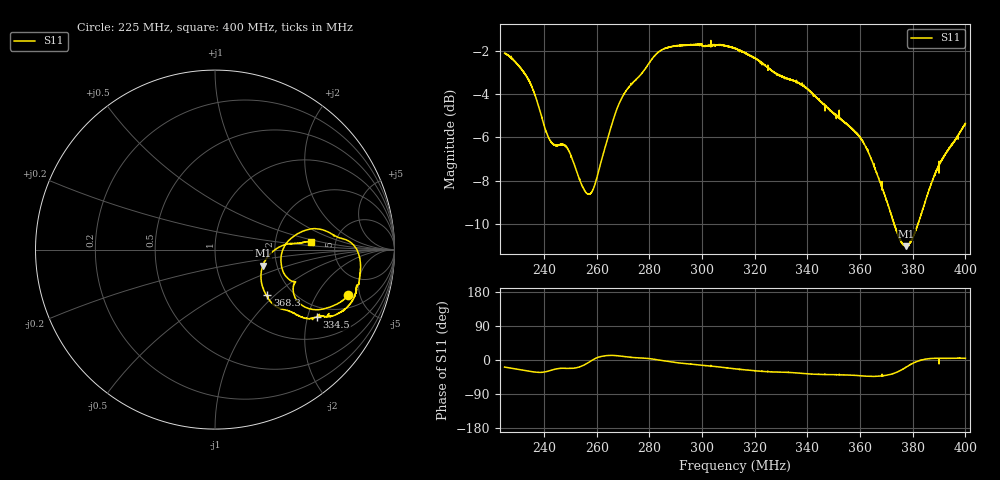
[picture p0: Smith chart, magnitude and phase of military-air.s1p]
! Calibrated averaged scanner-service zoom
# Hz S RI R 50
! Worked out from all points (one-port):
!   10001 points, 225 MHz to 400 MHz, reference 50 ohm
!   lowest |S11| = -11.0 dB at 377.6 MHz (marker M1), VSWR 1.78, Z = 84.3 - j16.4 ohm
!   |S11| at or under -10 dB: 372.9 MHz to 382 MHz (9.041 MHz wide, 2.4 % of centre)
!   S11 on the Smith chart (normalised r, x): 225 MHz: 2.97, -3.90; 334.5 MHz: 1.65, -2.29; 368.3 MHz: 1.50, -0.90; 400 MHz: 3.30, +0.40
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2.25e8  0.7437 -0.2517
2.31195e8  0.651 -0.3158
2.360775e8  0.5457 -0.3335
2.409775e8  0.443 -0.2594
2.441975e8  0.4391 -0.1973
2.46875e8  0.4475 -0.1789
2.518275e8  0.3993 -0.1533
2.574975e8  0.3706 -0.0249
2.63045e8  0.4641 0.0905
2.6875e8  0.5948 0.1114
2.793375e8  0.7348 0.0528
2.8303e8  0.7861 0.00687
2.90625e8  0.8107 -0.1021
3.0557e8  0.7802 -0.249
3.125e8  0.7398 -0.3174
3.222475e8  0.6512 -0.3713
3.34375e8  0.5675 -0.3741
3.34515e8  0.5676 -0.3741
3.42145e8  0.5028 -0.3828
3.5625e8  0.4057 -0.3394
3.625325e8  0.3462 -0.3206
3.683075e8  0.291 -0.254
3.746075e8  0.2561 -0.1483
3.776e8  0.2662 -0.0895
3.78125e8  0.2704 -0.0788
3.862275e8  0.3791 0.0229
3.908825e8  0.4417 0.0347
4e8  0.5383 0.0425
